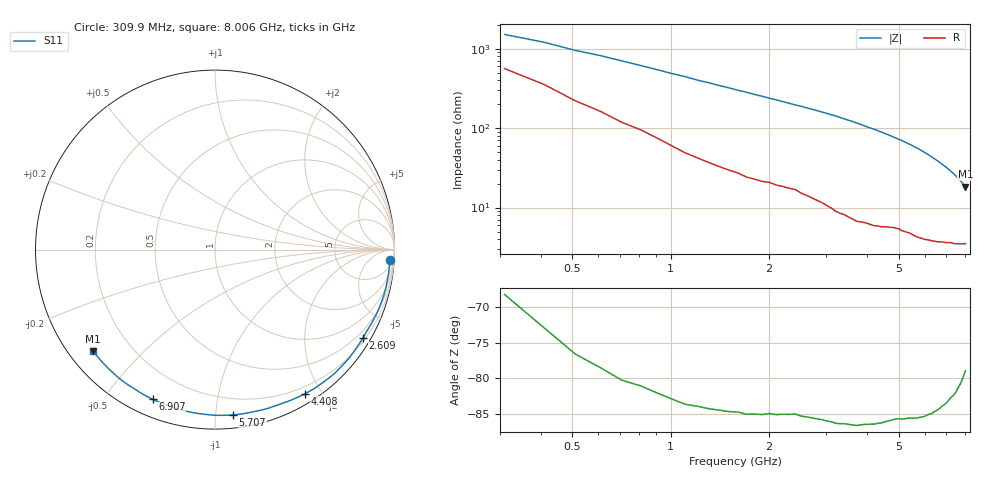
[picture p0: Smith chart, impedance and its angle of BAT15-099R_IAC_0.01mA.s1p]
! Infineon Technologies  Discrete & RF Semiconductors
! BAT15-099R
! IAC = 0.01 mA
! One-Port S-Parameters
# Hz  S  MA  R  50
!f  S11
!Hz  Mag  Ang
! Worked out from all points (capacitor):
!   78 points, 309.9 MHz to 8.006 GHz, reference 50 ohm
!   read as one part to ground: C = 338 fF near 309.9 MHz
!   lowest |Z| = 18.4 ohm at 8.006 GHz (marker M1)
!   S11 on the Smith chart (normalised r, x): 309.9 MHz: 11, -28; 2.609 GHz: 0.29, -3.59; 4.408 GHz: 0.11, -1.79; 5.707 GHz: 0.09, -1.11; 6.907 GHz: 0.07, -0.66; 8.006 GHz: 0.07, -0.36
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3.0985e8  0.9757 -3.5
7.0965e8  0.9763 -8.1
1.10945e9  0.9758 -12.8
1.30935e9  0.9741 -15.2
1.70915e9  0.9711 -20.0
2.30885e9  0.9617 -27.3
2.6087e9  0.96 -31.0
3.2084e9  0.9611 -38.8
3.70815e9  0.9588 -46.4
4.2079e9  0.9512 -54.7
4.4078e9  0.9471 -58.2
4.70765e9  0.9391 -63.6
4.90755e9  0.9341 -67.5
5.2074e9  0.9313 -73.1
5.50725e9  0.9278 -79.4
5.70715e9  0.9267 -83.8
5.90705e9  0.9237 -88.4
6.10695e9  0.9199 -93.1
6.30685e9  0.9165 -97.9
6.50675e9  0.9124 -102.8
6.8066e9  0.9049 -110.3
6.90655e9  0.9035 -112.6
7.10645e9  0.8993 -117.6
7.4063e9  0.895 -125.0
7.50625e9  0.893 -127.5
7.70615e9  0.8891 -132.7
7.90605e9  0.8851 -137.9
8.006e9  0.8827 -140.2
